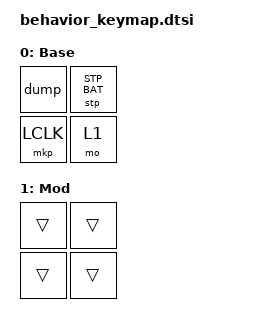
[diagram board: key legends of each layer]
#include <dt-bindings/zmk/keys.h>
#include <dt-bindings/zmk/stp.h>
#include <behaviors.dtsi>
#include <dt-bindings/zmk/kscan_mock.h>
#include "../underglow.dtsi"

/ {
    behaviors {
        dump: dump_metadata {
            compatible = "zmk,behavior-dump-metadata";
            #binding-cells = <0>;
        };
    };

    // Layer shape of the user's adv360.keymap: named okay layers, then a reserved one.
    keymap {
        compatible = "zmk,keymap";

        base {
            display-name = "Base";
            bindings = <
                &dump &stp STP_BAT
                &mkp LCLK &mo 1>;
        };

        mod {
            display-name = "Mod";
            bindings = <
                &trans &trans
                &trans &trans>;
        };

        red {
            display-name = "Red";
            status = "reserved";
        };
    };
};

&kscan {
    events = <ZMK_MOCK_PRESS(0,0,10) ZMK_MOCK_RELEASE(0,0,10)>;
};
